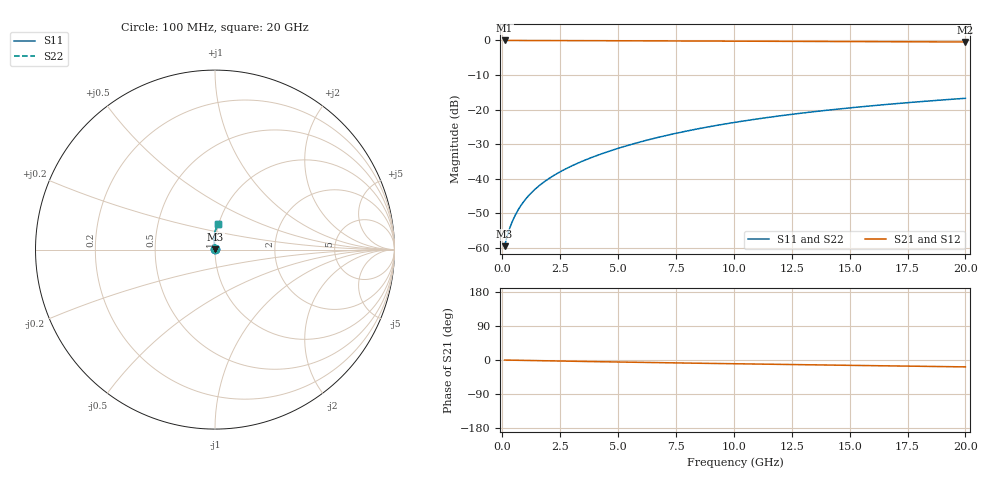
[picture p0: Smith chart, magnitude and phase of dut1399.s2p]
! Touchstone file exported from HFSS 2024.1.0
!  File:  C:/UserFiles/LocalFiles/RDL_TSV_Batchsim/temp_RDL_top_1399_1780368035.aedt
!  Generated:  10:42:43 AM Jun  2, 2026
!  Design:  RDL_top
!  Project:  temp_RDL_top_1399_1780368035
!  Setup:  Setup1
!  Solution:  Sweep
! Variables:
!  dtsv = 10.80580581um
!  hbump = 3um
!  htsv = 93.2um
!  ldown = 100um
!  lrdl = 271.4um
!  p = 40
!  p1 = 47.61um
!  rhole = 1um
!  t = 450um
!  tdown = 3.915915916um
!  trdl = 4.89um
!  wdown = 15.38538539um
!  wrdl = 29um
# GHz S MA R 50.000000
! Terminal data exported
! Port[1] = Box2_T1
! Port[2] = Box2_T2
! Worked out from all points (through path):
!   200 points, 100 MHz to 20 GHz, reference 50 ohm
!   highest |S21| = -0.01 dB at 100 MHz (marker M1); lowest = -0.4 dB at 20 GHz (marker M2)
!   group delay of S21, straight-line fit = 2.48 ps
!   lowest |S11| = -59.5 dB at 100 MHz (marker M3), VSWR 1.00, Z = 50.1 + j0.0604 ohm
!   |S11| at or under -10 dB: start of sweep to end of sweep
!   |S22| runs from -59.5 to -16.7 dB; largest |S21 - S12| = 2.6e-15
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0.1  0.001065 34.5  0.9991 -0.1  0.9991 -0.1  0.001065 34.5
! Gamma 0 0 0 0
! Port Impedance 50 0 50 0
0.2  0.001455 49.2  0.999 -0.2  0.999 -0.2  0.001455 49.2
0.3  0.001856 58.1  0.9989 -0.3  0.9989 -0.3  0.001856 58.1
0.4  0.002277 64.3  0.9988 -0.5  0.9988 -0.5  0.002277 64.3
0.5  0.002716 68.9  0.9987 -0.6  0.9987 -0.6  0.002716 68.8
0.6  0.003168 72.3  0.9987 -0.7  0.9987 -0.7  0.003168 72.3
0.8  0.004099 77.1  0.9985 -0.9  0.9985 -0.9  0.004099 77.1
1  0.005053 80.3  0.9983 -1.1  0.9983 -1.1  0.005053 80.3
1.2  0.006023 82.7  0.9981 -1.3  0.9981 -1.3  0.006023 82.7
1.6  0.008001 86.0  0.9976 -1.8  0.9976 -1.8  0.008001 86.0
2.1  0.01055 88.9  0.9967 -2.3  0.9967 -2.3  0.01055 88.9
2.7  0.01373 91.4  0.9954 -3.0  0.9954 -3.0  0.01373 91.4
3.5  0.01823 93.8  0.9934 -3.8  0.9934 -3.8  0.01823 93.8
4.2  0.02245 95.3  0.9915 -4.5  0.9915 -4.5  0.02244 95.3
5  0.02758 96.3  0.9891 -5.3  0.9891 -5.3  0.02758 96.3
6.8  0.04024 97.0  0.9834 -7.0  0.9834 -7.0  0.04024 97.0
8.4  0.05245 96.3  0.9784 -8.5  0.9784 -8.5  0.05244 96.3
10.1  0.06599 94.8  0.9735 -10.0  0.9735 -10.0  0.06598 94.7
11.7  0.07901 93.0  0.9692 -11.3  0.9692 -11.3  0.07899 93.0
13.4  0.09292 90.9  0.9649 -12.8  0.9649 -12.8  0.09289 90.9
16.7  0.1197 86.9  0.9572 -15.5  0.9572 -15.5  0.1197 86.9
20  0.1459 83.0  0.95 -18.2  0.95 -18.2  0.1458 82.9
